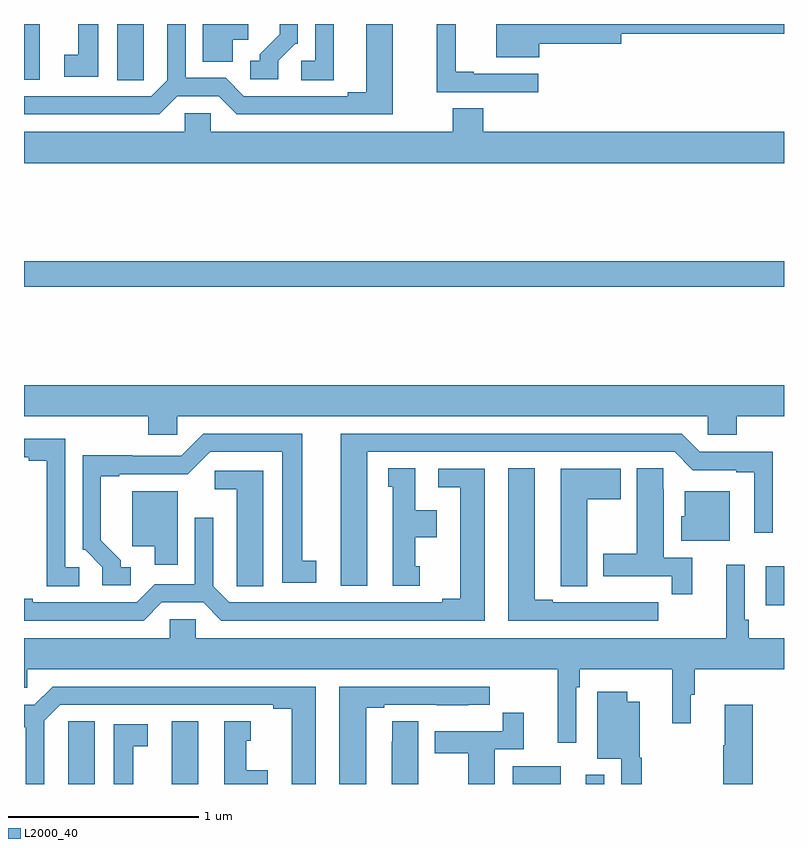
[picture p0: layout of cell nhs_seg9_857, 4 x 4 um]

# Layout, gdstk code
import gdstk
lib = gdstk.Library(unit=1e-6, precision=1e-09)
def R(c, l, rs):  # rectangles x0, y0, x1, y1
    for r in rs: c.add(gdstk.rectangle(r[:2], r[2:], *l))
def P(c, l, *ps):  # polygons
    for p in ps: c.add(gdstk.Polygon(p, *l))
L2000_40 = (2000, 40)

nhs_seg9_857 = lib.new_cell('nhs_seg9_857')
R(nhs_seg9_857, L2000_40, [(157.778,1178.5,157.918,1178.83), (159.572,1178.5,159.826,1178.593), (159.956,1178.5,160.053,1178.548), (160.904,1179.44,161,1179.646), (157,1181.116,161,1181.252), (157,1182.207,157.084,1182.5)])
P(nhs_seg9_857, L2000_40, [(158.337,1182.306),(158.427,1182.396),(158.442,1182.396),(158.442,1182.5),(158.345,1182.5),(158.345,1182.446),(158.24,1182.341),(158.24,1182.306),(158.19,1182.306),(158.19,1182.21),(158.337,1182.21)],
  [(157.39,1182.5),(157.286,1182.5),(157.286,1182.338),(157.212,1182.338),(157.212,1182.222),(157.39,1182.222)],
  [(158.098,1182.416),(158.179,1182.416),(158.179,1182.5),(157.94,1182.5),(157.94,1182.301),(158.098,1182.301)],
  [(157.629,1182.313),(157.63,1182.313),(157.63,1182.5),(157.49,1182.5),(157.49,1182.205),(157.629,1182.205)],
  [(157.807,1182.12),(158.025,1182.12),(158.121,1182.024),(158.941,1182.024),(158.941,1182.5),(158.801,1182.5),(158.801,1182.14),(158.705,1182.14),(158.705,1182.12),(158.157,1182.12),(158.061,1182.216),(157.851,1182.216),(157.851,1182.5),(157.755,1182.5),(157.755,1182.204),(157.671,1182.12),(157,1182.12),(157,1182.024),(157.711,1182.024)],
  [(159.712,1182.396),(160.143,1182.396),(160.143,1182.448),(161,1182.448),(161,1182.5),(159.485,1182.5),(159.485,1182.326),(159.712,1182.326)],
  [(159.706,1182.237),(159.367,1182.237),(159.367,1182.25),(159.272,1182.25),(159.272,1182.5),(159.172,1182.5),(159.172,1182.141),(159.706,1182.141)],
  [(158.629,1182.5),(158.532,1182.5),(158.532,1182.306),(158.46,1182.306),(158.46,1182.205),(158.629,1182.205)],
  [(161,1181.932),(159.416,1181.932),(159.416,1182.056),(159.256,1182.056),(159.256,1181.932),(157.983,1181.932),(157.983,1182.03),(157.845,1182.03),(157.845,1181.932),(157,1181.932),(157,1181.768),(161,1181.768)],
  [(157.806,1180.436),(160.599,1180.436),(160.599,1180.338),(160.751,1180.338),(160.751,1180.436),(161,1180.436),(161,1180.6),(157,1180.6),(157,1180.436),(157.655,1180.436),(157.655,1180.338),(157.806,1180.338)],
  [(158.806,1180.248),(160.425,1180.248),(160.521,1180.152),(160.748,1180.152),(160.748,1180.14),(160.844,1180.14),(160.844,1179.822),(160.941,1179.822),(160.941,1180.248),(160.557,1180.248),(160.461,1180.344),(158.666,1180.344),(158.666,1179.543),(158.806,1179.543)],
  [(157.561,1179.642),(157.51,1179.642),(157.51,1179.677),(157.405,1179.782),(157.405,1180.119),(157.501,1180.119),(157.501,1180.131),(157.863,1180.131),(157.98,1180.248),(158.36,1180.248),(158.36,1179.558),(158.539,1179.558),(158.539,1179.674),(158.464,1179.674),(158.464,1180.344),(157.944,1180.344),(157.827,1180.227),(157.571,1180.227),(157.571,1180.229),(157.308,1180.229),(157.308,1179.732),(157.323,1179.732),(157.413,1179.642),(157.413,1179.546),(157.561,1179.546)],
  [(157.291,1179.642),(157.218,1179.642),(157.218,1180.317),(157,1180.317),(157,1180.221),(157.025,1180.221),(157.025,1180.201),(157.121,1180.201),(157.121,1179.541),(157.291,1179.541)],
  [(160.517,1179.69),(160.366,1179.69),(160.366,1180.052),(160.365,1180.052),(160.365,1180.163),(160.226,1180.163),(160.226,1179.711),(160.049,1179.711),(160.049,1179.594),(160.408,1179.594),(160.408,1179.498),(160.517,1179.498)],
  [(159.082,1179.645),(159.058,1179.645),(159.058,1179.8),(159.172,1179.8),(159.172,1179.94),(159.058,1179.94),(159.058,1180.163),(158.918,1180.163),(158.918,1180.065),(158.942,1180.065),(158.942,1179.543),(159.082,1179.543)],
  [(160.339,1179.456),(160.226,1179.456),(160.226,1179.457),(160.06,1179.457),(160.06,1179.456),(159.784,1179.456),(159.784,1179.471),(159.688,1179.471),(159.688,1180.163),(159.548,1180.163),(159.548,1179.36),(160.339,1179.36)],
  [(159.964,1180),(160.141,1180),(160.141,1180.159),(159.824,1180.159),(159.824,1179.649),(159.825,1179.649),(159.825,1179.541),(159.964,1179.541)],
  [(157.725,1179.456),(157.943,1179.456),(158.039,1179.36),(159.424,1179.36),(159.424,1180.158),(159.18,1180.158),(159.18,1180.062),(159.296,1180.062),(159.296,1179.476),(159.2,1179.476),(159.2,1179.456),(158.079,1179.456),(157.995,1179.54),(157.995,1179.901),(157.899,1179.901),(157.899,1179.552),(157.689,1179.552),(157.593,1179.456),(157.045,1179.456),(157.045,1179.476),(157,1179.476),(157,1179.36),(157.629,1179.36)],
  [(158.26,1180.149),(158.004,1180.149),(158.004,1180.052),(158.12,1180.052),(158.12,1179.649),(158.121,1179.649),(158.121,1179.541),(158.26,1179.541)],
  [(160.714,1180.042),(160.478,1180.042),(160.478,1179.909),(160.46,1179.909),(160.46,1179.779),(160.714,1179.779)],
  [(157.81,1180.042),(157.571,1180.042),(157.571,1179.752),(157.688,1179.752),(157.688,1179.654),(157.81,1179.654)],
  [(159.906,1179.008),(159.926,1179.008),(159.926,1179.104),(160.411,1179.104),(160.411,1178.82),(160.51,1178.82),(160.51,1178.97),(160.529,1178.97),(160.529,1179.104),(161,1179.104),(161,1179.268),(160.814,1179.268),(160.814,1179.364),(160.794,1179.364),(160.794,1179.655),(160.697,1179.655),(160.697,1179.268),(157.905,1179.268),(157.905,1179.366),(157.767,1179.366),(157.767,1179.268),(157,1179.268),(157,1179.006),(157.017,1179.006),(157.017,1179.104),(159.809,1179.104),(159.809,1178.718),(159.906,1178.718)],
  [(158.8,1178.901),(158.896,1178.901),(158.896,1178.916),(159.172,1178.916),(159.172,1178.915),(159.338,1178.915),(159.338,1178.916),(159.451,1178.916),(159.451,1179.012),(158.66,1179.012),(158.66,1178.5),(158.8,1178.5)],
  [(157.107,1178.832),(157.191,1178.916),(158.312,1178.916),(158.312,1178.896),(158.408,1178.896),(158.408,1178.5),(158.536,1178.5),(158.536,1179.012),(157.151,1179.012),(157.055,1178.916),(157,1178.916),(157,1178.8),(157.01,1178.8),(157.01,1178.5),(157.107,1178.5)],
  [(160.252,1178.637),(160.24,1178.637),(160.24,1178.932),(160.174,1178.932),(160.174,1178.986),(160.016,1178.986),(160.016,1178.633),(160.143,1178.633),(160.143,1178.5),(160.252,1178.5)],
  [(160.835,1178.917),(160.688,1178.917),(160.688,1178.704),(160.681,1178.704),(160.681,1178.5),(160.835,1178.5)],
  [(159.478,1178.682),(159.629,1178.682),(159.629,1178.875),(159.52,1178.875),(159.52,1178.778),(159.161,1178.778),(159.161,1178.662),(159.338,1178.662),(159.338,1178.5),(159.478,1178.5)],
  [(159.076,1178.831),(158.937,1178.831),(158.937,1178.723),(158.936,1178.723),(158.936,1178.5),(159.076,1178.5)],
  [(157.372,1178.831),(157.233,1178.831),(157.233,1178.723),(157.232,1178.723),(157.232,1178.5),(157.372,1178.5)],
  [(158.284,1178.572),(158.17,1178.572),(158.17,1178.727),(158.194,1178.727),(158.194,1178.83),(158.054,1178.83),(158.054,1178.5),(158.284,1178.5)],
  [(157.576,1178.698),(157.651,1178.698),(157.651,1178.814),(157.472,1178.814),(157.472,1178.5),(157.576,1178.5)])

lib.write_gds('nhs_seg9_857.gds')
